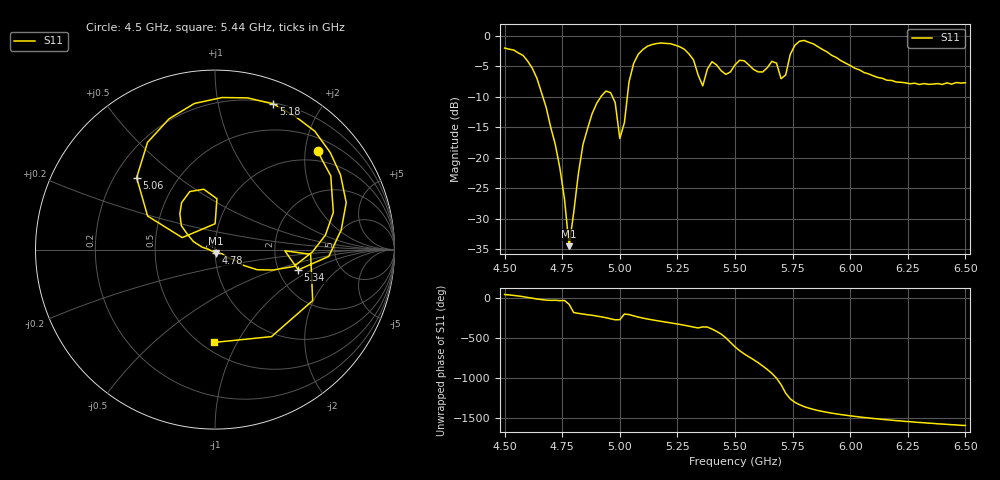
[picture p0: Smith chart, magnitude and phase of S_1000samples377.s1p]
! TOUCHSTONE file generated by CST MICROWAVE STUDIO
! Date and time: Thu Oct 27 23:13:46 2022
! Project name: L.cst
! Parameters = {Di=1.27; Epsilon_r=1.56; InnerDiameter=1.27; Length=2; Lf=10; Lg=60; OuterConductorThickness=0.2921; OuterDiameter=3.6; Wf=3; Wp=41.2; de=1.5; df=6.8; g=0.8; gx=3.88629; gy=0.852808; h=2.34; hf=1.524; px=13.2691; py=14.9671; w=9.7; wx=9.38281; wy=14.1143}
! Header version: 2018
! Port assignment regex: !\s*Touchstone port\s*([0-9]+)\s*=\s*(CST MWS port|CST DS port)\s*([0-9]+|Zmin|Zmax)\s*\(\"(.*)\"\)(\s*mode\s*([0-9]+))?.*
! Touchstone port assignment:
! Touchstone port 1 = CST MWS port 1 ("")
# GHz S DB R 50
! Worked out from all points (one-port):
!   101 points, 4.5 GHz to 6.5 GHz, reference 50 ohm
!   lowest |S11| = -34.5 dB at 4.78 GHz (marker M1), VSWR 1.04, Z = 50.4 - j1.86 ohm
!   |S11| at or under -10 dB: 4.666 GHz to 4.918 GHz (251.8 MHz wide, 5.25 % of centre); 4.968 GHz to 5.033 GHz (64.27 MHz wide, 1.29 % of centre)
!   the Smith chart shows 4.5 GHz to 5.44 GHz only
!   S11 on the Smith chart (normalised r, x): 4.5 GHz: 0.76, +2.26; 4.78 GHz: 1.01, -0.04; 5.06 GHz: 0.29, +0.36; 5.18 GHz: 0.21, +1.46; 5.34 GHz: 2.57, -0.75; 5.44 GHz: 0.57, -0.81
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4.5  -2.01 44.0
4.64  -6.94 -12.1
4.76  -26.78 -30.2
4.78  -34.47 -77.9
4.9  -11.05 134.3
4.96  -9.32 100.5
5  -16.82 89.7
5.06  -4.54 137.4
5.18  -1.17 68.2
5.26  -1.79 30.7
5.34  -6.42 -13.7
5.4  -4.24 -27.6
5.44  -5.72 -90.9
5.48  -5.92 166.0
5.5  -4.76 109.8
5.54  -4.09 21.2
5.6  -5.91 -87.8
5.64  -5.24 -173.4
5.68  -4.46 77.8
5.7  -7.03 -3.8
5.72  -6.40 -110.4
5.74  -3.03 178.5
5.76  -1.55 135.5
5.8  -0.76 81.6
5.86  -1.78 32.7
6  -4.86 -33.8
6.26  -7.86 -107.3
6.5  -7.69 -154.1
